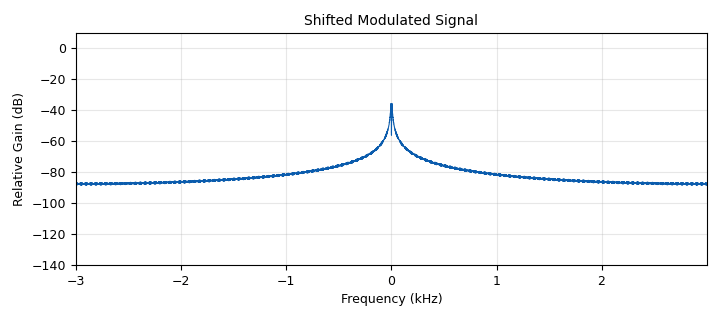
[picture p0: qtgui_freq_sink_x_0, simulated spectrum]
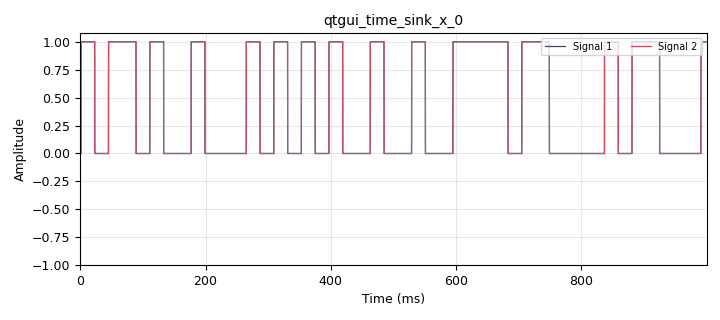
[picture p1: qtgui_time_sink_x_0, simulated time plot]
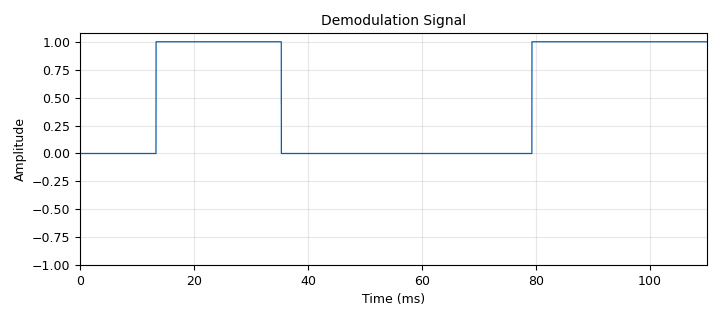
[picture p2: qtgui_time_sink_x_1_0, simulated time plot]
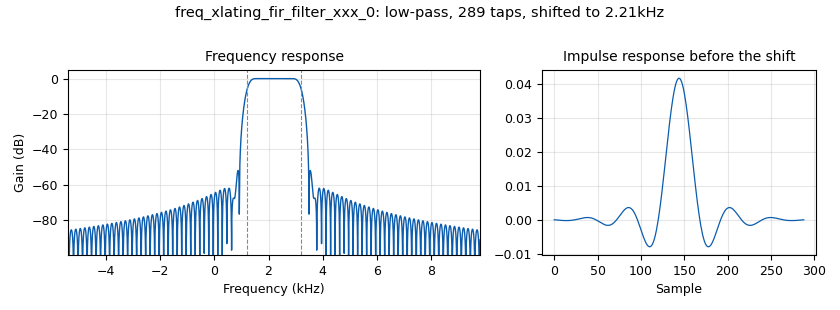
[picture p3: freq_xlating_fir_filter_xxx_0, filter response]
options:
  parameters:
    author: Ben Cometto
    generate_options: qt_gui
    id: fskMod
    output_language: python
    title: FSK Modulator
  states: {}

blocks:
- name: f_mark
  id: variable
  parameters:
    value: '2295'
  states: {}
- name: f_space
  id: variable
  parameters:
    value: '2125'
  states: {}
- name: samp_rate
  id: variable
  parameters:
    value: '48000'
  states: {}
- name: t_bit
  id: variable
  parameters:
    value: '0.022'
  states: {}
- name: v_fsk
  id: variable
  parameters:
    value: '1'
  states: {}
- name: vco_max
  id: variable
  parameters:
    value: '2500'
  states: {}
- name: xlating_taps
  id: variable_low_pass_filter_taps
  parameters:
    cutoff_freq: '1000'
    gain: '1.0'
    samp_rate: samp_rate
    width: '400'
    win: window.WIN_HAMMING
  states: {}
- name: analog_quadrature_demod_cf_0
  id: analog_quadrature_demod_cf
  parameters:
    gain: samp_rate/(2*np.pi*(f_mark-f_space))
  states: {}
- name: analog_simple_squelch_cc_0
  id: analog_simple_squelch_cc
  parameters:
    alpha: '1'
    threshold: '-70'
  states: {}
- name: blocks_add_const_vxx_0
  id: blocks_add_const_vxx
  parameters:
    const: f_space/vco_max
    type: float
  states: {}
- name: blocks_delay_0
  id: blocks_delay
  parameters:
    delay: '145'
    type: float
  states: {}
- name: blocks_multiply_const_vxx_0
  id: blocks_multiply_const_vxx
  parameters:
    const: (f_mark-f_space)/vco_max
    type: float
  states: {}
- name: blocks_repeat_0
  id: blocks_repeat
  parameters:
    interp: int(samp_rate*t_bit)
    type: byte
  states: {}
- name: blocks_throttle2_0_0
  id: blocks_throttle2
  parameters:
    samples_per_second: samp_rate
    type: byte
  states: {}
- name: blocks_uchar_to_float_0
  id: blocks_uchar_to_float
  parameters: {}
  states: {}
- name: blocks_uchar_to_float_1
  id: blocks_uchar_to_float
  parameters: {}
  states: {}
- name: blocks_unpack_k_bits_bb_0
  id: blocks_unpack_k_bits_bb
  parameters:
    k: '8'
  states: {}
- name: blocks_vco_f_0
  id: blocks_vco_f
  parameters:
    amplitude: v_fsk
    samp_rate: samp_rate
    sensitivity: 2*np.pi*vco_max
  states: {}
- name: blocks_vector_source_x_0
  id: blocks_vector_source_x
  parameters:
    repeat: 'True'
    type: byte
    vector: (97,98,90,69,82,79)
  states: {}
- name: digital_binary_slicer_fb_0
  id: digital_binary_slicer_fb
  parameters: {}
  states: {}
- name: freq_xlating_fir_filter_xxx_0
  id: freq_xlating_fir_filter_xxx
  parameters:
    center_freq: (f_space+f_mark)/2
    decim: '1'
    samp_rate: samp_rate
    taps: xlating_taps
    type: fcc
  states: {}
- name: import_0
  id: import
  parameters:
    imports: import numpy as np
  states: {}
- name: qtgui_freq_sink_x_0
  id: qtgui_freq_sink_x
  parameters:
    bw: samp_rate/8
    ctrlpanel: 'True'
    fc: '0'
    fftsize: '4096'
    name: '"Shifted Modulated Signal"'
    type: float
    wintype: window.WIN_FLATTOP
  states: {}
- name: qtgui_time_sink_x_0
  id: qtgui_time_sink_x
  parameters:
    ctrlpanel: 'True'
    nconnections: '2'
    size: samp_rate
    srate: samp_rate
    type: float
  states: {}
- name: qtgui_time_sink_x_1_0
  id: qtgui_time_sink_x
  parameters:
    ctrlpanel: 'True'
    grid: 'True'
    name: '"Demodulation Signal"'
    size: int(t_bit*5*samp_rate)
    srate: samp_rate
    type: float
    yunit: '"V"'
  states: {}
- name: virtual_sink_0
  id: virtual_sink
  parameters:
    stream_id: xmt
  states: {}
- name: virtual_sink_0_0
  id: virtual_sink
  parameters:
    stream_id: tx
  states: {}
- name: virtual_source_0
  id: virtual_source
  parameters:
    stream_id: xmt
  states: {}
- name: virtual_source_1
  id: virtual_source
  parameters:
    stream_id: tx
  states: {}
- name: virtual_source_2
  id: virtual_source
  parameters:
    stream_id: xmt
  states: {}
- name: zeromq_pub_sink_0
  id: zeromq_pub_sink
  parameters:
    address: tcp://127.0.0.1:4444
    timeout: '10000'
    type: float
  states: {}

connections:
- [analog_quadrature_demod_cf_0, '0', digital_binary_slicer_fb_0, '0']
- [analog_simple_squelch_cc_0, '0', analog_quadrature_demod_cf_0, '0']
- [blocks_add_const_vxx_0, '0', blocks_vco_f_0, '0']
- [blocks_delay_0, '0', qtgui_time_sink_x_0, '0']
- [blocks_delay_0, '0', qtgui_time_sink_x_0, '1']
- [blocks_multiply_const_vxx_0, '0', blocks_add_const_vxx_0, '0']
- [blocks_repeat_0, '0', blocks_throttle2_0_0, '0']
- [blocks_throttle2_0_0, '0', blocks_uchar_to_float_0, '0']
- [blocks_uchar_to_float_0, '0', qtgui_freq_sink_x_0, '0']
- [blocks_uchar_to_float_0, '0', qtgui_time_sink_x_1_0, '0']
- [blocks_uchar_to_float_0, '0', virtual_sink_0, '0']
- [blocks_uchar_to_float_1, '0', zeromq_pub_sink_0, '0']
- [blocks_unpack_k_bits_bb_0, '0', blocks_repeat_0, '0']
- [blocks_vco_f_0, '0', virtual_sink_0_0, '0']
- [blocks_vector_source_x_0, '0', blocks_unpack_k_bits_bb_0, '0']
- [digital_binary_slicer_fb_0, '0', blocks_uchar_to_float_1, '0']
- [freq_xlating_fir_filter_xxx_0, '0', analog_simple_squelch_cc_0, '0']
- [virtual_source_0, '0', blocks_multiply_const_vxx_0, '0']
- [virtual_source_1, '0', freq_xlating_fir_filter_xxx_0, '0']
- [virtual_source_2, '0', blocks_delay_0, '0']

metadata:
  file_format: 1
  grc_version: 3.10.10.0
